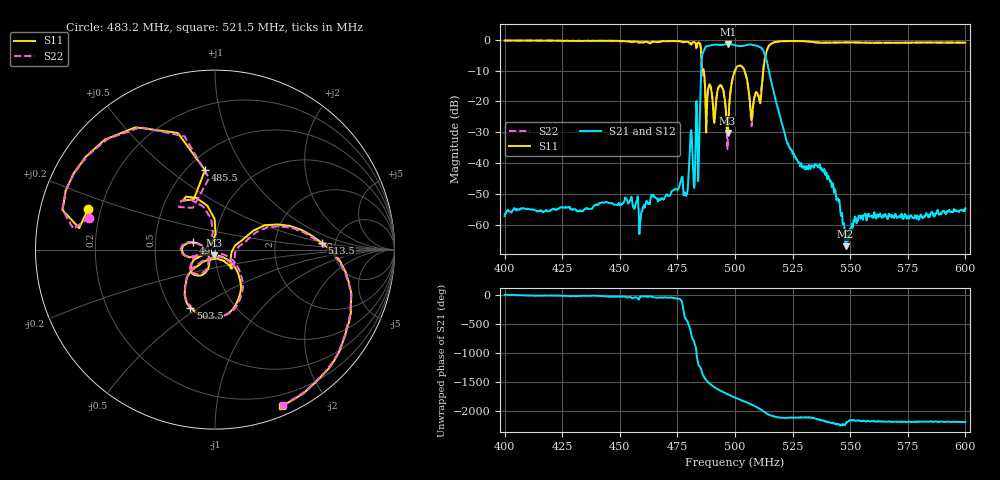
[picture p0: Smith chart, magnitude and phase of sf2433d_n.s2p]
# Hz  S  RI  R  50
! ADVANTEST Corporation R3860A
! Date: Mon Jul 03 19:37:56 2006
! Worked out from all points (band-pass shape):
!   801 points, 400 MHz to 600 MHz, reference 50 ohm
!   highest |S21| = -1.40 dB at 497 MHz (marker M1); lowest = -66.8 dB at 548 MHz (marker M2)
!   |S21| within 3 dB of the highest: 486 MHz to 512.7 MHz (26.76 MHz wide, 5.36 % of centre)
!   lowest |S11| = -30.2 dB at 496.8 MHz (marker M3), VSWR 1.06, Z = 49.5 - j3.04 ohm
!   |S11| at or under -10 dB: 485.7252 MHz to 485.8866 MHz (161.4 kHz wide, 0.0332 % of centre); 486.4 MHz to 500 MHz (13.6 MHz wide, 2.76 % of centre); 504.1 MHz to 512.3 MHz (8.189 MHz wide, 1.61 % of centre)
!   |S22| runs from -35.4 to -0.3 dB; largest |S21 - S12| = 0.0019
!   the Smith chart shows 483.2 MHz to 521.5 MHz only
!   S11 on the Smith chart (normalised r, x): 483.2 MHz: 0.15, +0.15; 485.5 MHz: 0.61, +0.68; 490 MHz: 0.78, +0.06; 503.5 MHz: 0.63, -0.46; 513.5 MHz: 3.90, +0.45; 521.5 MHz: 0.09, -1.51
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4e8  -0.1788 -0.9514  0.00139 -0.00018  0.00142 -0.000193  -0.1715 -0.9514
4.335e8  -0.3707 -0.876  0.00152 -0.000699  0.00152 -0.000701  -0.3585 -0.8829
4.6675e8  -0.6359 -0.6489  0.00155 -0.0022  0.00154 -0.00218  -0.625 -0.6785
4.785e8  -0.8775 -0.2816  0.0018 -0.00257  0.00179 -0.00257  -0.8849 -0.2892
4.8325e8  -0.708 0.2245  -0.00518 0.1019  -0.00646 0.1017  -0.7005 0.1782
4.855e8  -0.0556 0.4426  -0.2352 0.3785  -0.2358 0.3767  -0.033 0.3984
4.8725e8  0.00307 0.0873  0.7088 -0.2886  0.7082 -0.2878  -0.0115 0.0921
4.9e8  -0.1214 0.0396  -0.495 -0.6544  -0.4947 -0.6541  -0.1279 0.0433
4.9275e8  -0.0837 -0.1455  -0.7788 0.2609  -0.778 0.2609  -0.0873 -0.1373
4.9675e8  -0.00423 -0.0307  0.1138 0.8411  0.1139 0.8404  -0.000478 -0.0169
4.97e8  0.0178 -0.0333  0.1856 0.8304  0.1855 0.8293  0.0226 -0.0203
5e8  0.1243 -0.2898  0.7519 0.3166  0.7517 0.3167  0.1366 -0.2831
5.035e8  -0.1381 -0.3235  0.674 -0.4129  0.6739 -0.4126  -0.1318 -0.3223
5.075e8  0.0285 -0.0559  -0.1809 -0.8022  -0.1811 -0.8017  0.0315 -0.0421
5.1075e8  0.0874 -0.0462  -0.7487 -0.1309  -0.7484 -0.1304  0.1098 -0.0459
5.135e8  0.5954 0.0371  -0.2087 0.4387  -0.2091 0.4386  0.5981 0.0238
5.215e8  0.3733 -0.869  0.0266 0.0164  0.0267 0.0165  0.3809 -0.8637
5.335e8  -0.0334 -0.9169  0.0074 0.00495  0.0074 0.00495  -0.0236 -0.9152
5.4175e8  -0.116 -0.8849  0.00282 -0.0042  0.00281 -0.00421  -0.1059 -0.8868
5.48e8  -0.1753 -0.886  0.000152 -0.000433  0.00017 -0.000431  -0.1642 -0.8865
5.6675e8  -0.2964 -0.8416  0.00135 -0.000719  0.00134 -0.000694  -0.2842 -0.8471
6e8  -0.4449 -0.7761  0.00143 -0.00123  0.00145 -0.00106  -0.4307 -0.7869
